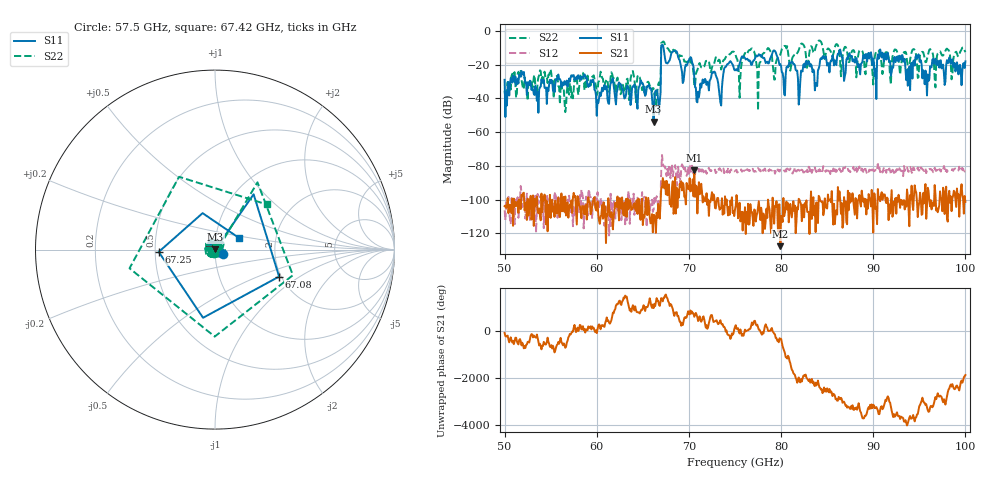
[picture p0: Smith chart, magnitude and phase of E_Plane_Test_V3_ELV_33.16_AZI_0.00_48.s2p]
! 11/26/2026 4:31:41 PM
! C:\ANRITSUVNA\TEMP\TEMP.S2P
! CHANNEL.1
! TR.MEASUREMENT
! RAW.DATA
# HZ S RI R 50.0
! FREQ.HZ  S11RE  S11IM  S21RE  S21IM  S12RE  S12IM  S22RE  S22IM
!; PortSelection: Port_12
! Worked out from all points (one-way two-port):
!   601 points, 50 GHz to 100 GHz, reference 50 ohm
!   highest |S21| = -82.56 dB at 70.58 GHz (marker M1); lowest = -127.7 dB at 79.92 GHz (marker M2)
!   lowest |S11| = -53.8 dB at 66.17 GHz (marker M3), VSWR 1.00, Z = 50.1 + j0.151 ohm
!   |S11| at or under -10 dB: start of sweep to 67 GHz; 67.25 GHz to end of sweep
!   |S22| runs from -48.1 to -5.6 dB; largest |S21 - S12| = 0.00023
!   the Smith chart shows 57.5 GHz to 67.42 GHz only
!   S11 on the Smith chart (normalised r, x): 57.5 GHz: 1.09, -0.05; 67.08 GHz: 1.95, -0.69; 67.25 GHz: 0.52, -0.01; 67.42 GHz: 1.29, +0.17
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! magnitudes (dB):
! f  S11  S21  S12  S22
! 50 GHz  -28.9  -104.0  -106.3  -35.4
! 51.67 GHz  -26.3  -103.5  -99.9  -23.2
! 53.42 GHz  -34.7  -101.9  -119.6  -34.8
! 57.5 GHz  -26.1  -96.0  -104.5  -34.6
! 58.42 GHz  -27.1  -104.1  -96.1  -24.8
! 60.17 GHz  -42.7  -109.3  -102.1  -30.3
! 66.17 GHz  -53.8  -109.1  -105.9  -34.0
! 66.67 GHz  -41.5  -102.6  -105.3  -31.6
! 67.08 GHz  -8.2  -92.9  -73.6  -6.8
! 67.25 GHz  -10.1  -90.2  -80.2  -6.2
! 67.42 GHz  -16.6  -89.2  -80.3  -8.3
! 70.58 GHz  -27.2  -82.6  -82.5  -32.8
! 73.42 GHz  -42.4  -105.2  -82.2  -19.8
! 75 GHz  -23.4  -105.8  -83.0  -13.0
! 77.58 GHz  -13.8  -101.0  -81.9  -21.7
! 79.92 GHz  -19.7  -127.7  -82.3  -14.0
! 83.42 GHz  -24.4  -102.7  -82.7  -10.8
! 91.67 GHz  -16.6  -112.2  -82.3  -15.2
! 93.75 GHz  -32.5  -98.3  -82.5  -21.2
! 94.83 GHz  -15.1  -110.4  -81.0  -27.9
! 95.83 GHz  -38.2  -103.8  -82.6  -16.5
! 100 GHz  -18.0  -101.4  -83.3  -12.5
